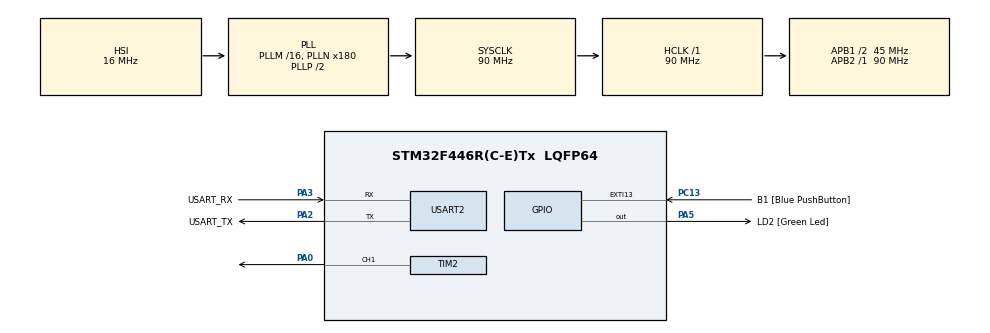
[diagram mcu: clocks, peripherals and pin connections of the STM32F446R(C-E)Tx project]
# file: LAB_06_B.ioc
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Mcu.Family=STM32F4
Mcu.Name=STM32F446R(C-E)Tx
Mcu.Package=LQFP64
NVIC.PriorityGroup=NVIC_PRIORITYGROUP_0
PA0-WKUP.Signal=S_TIM2_CH1_ETR
PA13.GPIO_Label=TMS
PA13.Mode=Serial_Wire
PA13.Signal=SYS_JTMS-SWDIO
PA14.GPIO_Label=TCK
PA14.Mode=Serial_Wire
PA14.Signal=SYS_JTCK-SWCLK
PA2.GPIO_Label=USART_TX
PA2.Mode=Asynchronous
PA2.Signal=USART2_TX
PA3.GPIO_Label=USART_RX
PA3.Mode=Asynchronous
PA3.Signal=USART2_RX
PA5.GPIO_Label=LD2 [Green Led]
PA5.Signal=GPIO_Output
PB3.GPIO_Label=SWO
PB3.Signal=SYS_JTDO-SWO
PC13.GPIO_Label=B1 [Blue PushButton]
PC13.GPIO_ModeDefaultEXTI=GPIO_MODE_IT_FALLING
PC13.Signal=GPXTI13
PC14-OSC32_IN.Mode=LSE-External-Oscillator
PC14-OSC32_IN.Signal=RCC_OSC32_IN
PC15-OSC32_OUT.Mode=LSE-External-Oscillator
PC15-OSC32_OUT.Signal=RCC_OSC32_OUT
PH0-OSC_IN.Mode=HSE-External-Oscillator
PH0-OSC_IN.Signal=RCC_OSC_IN
PH1-OSC_OUT.Mode=HSE-External-Oscillator
PH1-OSC_OUT.Signal=RCC_OSC_OUT
ProjectManager.HeapSize=0x200
ProjectManager.StackSize=0x400
ProjectManager.TargetToolchain=STM32CubeIDE
RCC.48MHZClocksFreq_Value=84000000
RCC.AHBFreq_Value=90000000
RCC.APB1CLKDivider=RCC_HCLK_DIV2
RCC.APB1Freq_Value=45000000
RCC.APB1TimFreq_Value=90000000
RCC.APB2Freq_Value=90000000
RCC.APB2TimFreq_Value=90000000
RCC.CortexFreq_Value=90000000
RCC.FLatency-AdvancedSettings=FLASH_LATENCY_2
RCC.HCLKFreq_Value=90000000
RCC.HSE_VALUE=8000000
RCC.HSI_VALUE=16000000
RCC.PLLN=180
RCC.SYSCLKFreq_VALUE=90000000
RCC.SYSCLKSource=RCC_SYSCLKSOURCE_PLLCLK
RCC.USBFreq_Value=90000000
RCC.VCOOutputFreq_Value=180000000
SH.S_TIM2_CH1_ETR.0=TIM2_CH1,PWM Generation1 CH1
TIM2.AutoReloadPreload=TIM_AUTORELOAD_PRELOAD_ENABLE
TIM2.Channel-PWM\ Generation1\ CH1=TIM_CHANNEL_1
TIM2.Period=59999
TIM2.Prescaler=29
USART2.VirtualMode=VM_ASYNC
VP_TIM2_VS_ClockSourceINT.Mode=Internal
VP_TIM6_VS_ClockSourceINT.Mode=Enable_Timer
board=NUCLEO-F446RE

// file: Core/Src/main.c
/* USER CODE BEGIN Header */
/**
  ******************************************************************************
  * @file           : main.c
  * @brief          : Main program body
  ******************************************************************************
  * @attention
  *
  * Copyright (c) 2026 STMicroelectronics.
  * All rights reserved.
  *
  * This software is licensed under terms that can be found in the LICENSE file
  * in the root directory of this software component.
  * If no LICENSE file comes with this software, it is provided AS-IS.
  *
  ******************************************************************************
  */
/* USER CODE END Header */
#include "main.h"

/* USER CODE BEGIN Includes */
#include <stdio.h>
/* USER CODE END Includes */

TIM_HandleTypeDef htim2;
TIM_HandleTypeDef htim6;

UART_HandleTypeDef huart2;

/* USER CODE BEGIN PV */
char msg[64];
/* USER CODE END PV */

void SystemClock_Config(void);
static void MX_GPIO_Init(void);
static void MX_TIM2_Init(void);
static void MX_TIM6_Init(void);
static void MX_USART2_UART_Init(void);

/* USER CODE BEGIN 0 */
// Microsecond delay using TIM6

void delay_us(uint32_t us)
{
    uint32_t overflow = us / 65536;
    uint32_t remainder = us % 65536;
    __HAL_TIM_SET_COUNTER(&htim6, 0);
    __HAL_TIM_CLEAR_FLAG(&htim6, TIM_FLAG_UPDATE);
    while (overflow--)
    {
        while (!__HAL_TIM_GET_FLAG(&htim6, TIM_FLAG_UPDATE));
        __HAL_TIM_CLEAR_FLAG(&htim6, TIM_FLAG_UPDATE);
    }
    __HAL_TIM_SET_COUNTER(&htim6, 0);
    while (__HAL_TIM_GET_COUNTER(&htim6) < remainder);
}

void delay_ms(uint32_t ms)
{
    for (uint32_t i = 0; i < ms; i++) delay_us(1000);
}

int __io_putchar(int ch)
{
    HAL_UART_Transmit(&huart2, (uint8_t*)&ch, 1, HAL_MAX_DELAY);
    return ch;
}

/* USER CODE END 0 */

int main(void)
{

  /* MCU Configuration--------------------------------------------------------*/

  /* Reset of all peripherals, Initializes the Flash interface and the Systick. */
  HAL_Init();

  /* Configure the system clock */
  SystemClock_Config();

  /* Initialize all configured peripherals */
  MX_GPIO_Init();
  MX_TIM2_Init();
  MX_TIM6_Init();
  MX_USART2_UART_Init();
  /* USER CODE BEGIN 2 */
  // Start TIM6 (free-running counter for delay)
  HAL_TIM_Base_Start(&htim6);

  // Start TIM2 PWM on Channel 1
  HAL_TIM_PWM_Start(&htim2, TIM_CHANNEL_1);

  printf("Target Angle  Pulse Width(us)  CCR VALUE\r\n");

  for (int i = 0; i <= 180; i += 10)
  {
      __HAL_TIM_SET_COMPARE(&htim2, TIM_CHANNEL_1, 0);  // reset

      double time = 500.0 + ((i * 2000.0) / 180.0);    // pulse in µs
      double CCR  = time * 3.0;                          // scale to ARR

      __HAL_TIM_SET_COMPARE(&htim2, TIM_CHANNEL_1, (uint32_t)CCR);

      printf("%d\t\t%.2f\t\t%.2f\r\n", i, time, CCR);

      delay_ms(500);
  }

  /* USER CODE END 2 */

  /* Infinite loop */
  while (1)
  {

  }
}

void SystemClock_Config(void)
{
  RCC_OscInitTypeDef RCC_OscInitStruct = {0};
  RCC_ClkInitTypeDef RCC_ClkInitStruct = {0};

  /** Configure the main internal regulator output voltage
  */
  __HAL_RCC_PWR_CLK_ENABLE();
  __HAL_PWR_VOLTAGESCALING_CONFIG(PWR_REGULATOR_VOLTAGE_SCALE3);

  /** Initializes the RCC Oscillators according to the specified parameters
  * in the RCC_OscInitTypeDef structure.
  */
  RCC_OscInitStruct.OscillatorType = RCC_OSCILLATORTYPE_HSI;
  RCC_OscInitStruct.HSIState = RCC_HSI_ON;
  RCC_OscInitStruct.HSICalibrationValue = RCC_HSICALIBRATION_DEFAULT;
  RCC_OscInitStruct.PLL.PLLState = RCC_PLL_ON;
  RCC_OscInitStruct.PLL.PLLSource = RCC_PLLSOURCE_HSI;
  RCC_OscInitStruct.PLL.PLLM = 16;
  RCC_OscInitStruct.PLL.PLLN = 180;
  RCC_OscInitStruct.PLL.PLLP = RCC_PLLP_DIV2;
  RCC_OscInitStruct.PLL.PLLQ = 2;
  RCC_OscInitStruct.PLL.PLLR = 2;
  if (HAL_RCC_OscConfig(&RCC_OscInitStruct) != HAL_OK)
  {
    Error_Handler();
  }

  /** Initializes the CPU, AHB and APB buses clocks
  */
  RCC_ClkInitStruct.ClockType = RCC_CLOCKTYPE_HCLK|RCC_CLOCKTYPE_SYSCLK
                              |RCC_CLOCKTYPE_PCLK1|RCC_CLOCKTYPE_PCLK2;
  RCC_ClkInitStruct.SYSCLKSource = RCC_SYSCLKSOURCE_PLLCLK;
  RCC_ClkInitStruct.AHBCLKDivider = RCC_SYSCLK_DIV1;
  RCC_ClkInitStruct.APB1CLKDivider = RCC_HCLK_DIV2;
  RCC_ClkInitStruct.APB2CLKDivider = RCC_HCLK_DIV1;

  if (HAL_RCC_ClockConfig(&RCC_ClkInitStruct, FLASH_LATENCY_2) != HAL_OK)
  {
    Error_Handler();
  }
}

static void MX_TIM2_Init(void)
{

  TIM_ClockConfigTypeDef sClockSourceConfig = {0};
  TIM_MasterConfigTypeDef sMasterConfig = {0};
  TIM_OC_InitTypeDef sConfigOC = {0};

  htim2.Instance = TIM2;
  htim2.Init.Prescaler = 29;
  htim2.Init.CounterMode = TIM_COUNTERMODE_UP;
  htim2.Init.Period = 59999;
  htim2.Init.ClockDivision = TIM_CLOCKDIVISION_DIV1;
  htim2.Init.AutoReloadPreload = TIM_AUTORELOAD_PRELOAD_ENABLE;
  if (HAL_TIM_Base_Init(&htim2) != HAL_OK)
  {
    Error_Handler();
  }
  sClockSourceConfig.ClockSource = TIM_CLOCKSOURCE_INTERNAL;
  if (HAL_TIM_ConfigClockSource(&htim2, &sClockSourceConfig) != HAL_OK)
  {
    Error_Handler();
  }
  if (HAL_TIM_PWM_Init(&htim2) != HAL_OK)
  {
    Error_Handler();
  }
  sMasterConfig.MasterOutputTrigger = TIM_TRGO_RESET;
  sMasterConfig.MasterSlaveMode = TIM_MASTERSLAVEMODE_DISABLE;
  if (HAL_TIMEx_MasterConfigSynchronization(&htim2, &sMasterConfig) != HAL_OK)
  {
    Error_Handler();
  }
  sConfigOC.OCMode = TIM_OCMODE_PWM1;
  sConfigOC.Pulse = 0;
  sConfigOC.OCPolarity = TIM_OCPOLARITY_HIGH;
  sConfigOC.OCFastMode = TIM_OCFAST_DISABLE;
  if (HAL_TIM_PWM_ConfigChannel(&htim2, &sConfigOC, TIM_CHANNEL_1) != HAL_OK)
  {
    Error_Handler();
  }
  HAL_TIM_MspPostInit(&htim2);

}

static void MX_TIM6_Init(void)
{

  TIM_MasterConfigTypeDef sMasterConfig = {0};

  htim6.Instance = TIM6;
  htim6.Init.Prescaler = 0;
  htim6.Init.CounterMode = TIM_COUNTERMODE_UP;
  htim6.Init.Period = 65535;
  htim6.Init.AutoReloadPreload = TIM_AUTORELOAD_PRELOAD_DISABLE;
  if (HAL_TIM_Base_Init(&htim6) != HAL_OK)
  {
    Error_Handler();
  }
  sMasterConfig.MasterOutputTrigger = TIM_TRGO_RESET;
  sMasterConfig.MasterSlaveMode = TIM_MASTERSLAVEMODE_DISABLE;
  if (HAL_TIMEx_MasterConfigSynchronization(&htim6, &sMasterConfig) != HAL_OK)
  {
    Error_Handler();
  }

}

static void MX_USART2_UART_Init(void)
{

  huart2.Instance = USART2;
  huart2.Init.BaudRate = 115200;
  huart2.Init.WordLength = UART_WORDLENGTH_8B;
  huart2.Init.StopBits = UART_STOPBITS_1;
  huart2.Init.Parity = UART_PARITY_NONE;
  huart2.Init.Mode = UART_MODE_TX_RX;
  huart2.Init.HwFlowCtl = UART_HWCONTROL_NONE;
  huart2.Init.OverSampling = UART_OVERSAMPLING_16;
  if (HAL_UART_Init(&huart2) != HAL_OK)
  {
    Error_Handler();
  }

}

static void MX_GPIO_Init(void)
{
  GPIO_InitTypeDef GPIO_InitStruct = {0};

  /* GPIO Ports Clock Enable */
  __HAL_RCC_GPIOC_CLK_ENABLE();
  __HAL_RCC_GPIOH_CLK_ENABLE();
  __HAL_RCC_GPIOA_CLK_ENABLE();
  __HAL_RCC_GPIOB_CLK_ENABLE();

  /*Configure GPIO pin Output Level */
  HAL_GPIO_WritePin(LD2_GPIO_Port, LD2_Pin, GPIO_PIN_RESET);

  /*Configure GPIO pin : B1_Pin */
  GPIO_InitStruct.Pin = B1_Pin;
  GPIO_InitStruct.Mode = GPIO_MODE_IT_FALLING;
  GPIO_InitStruct.Pull = GPIO_NOPULL;
  HAL_GPIO_Init(B1_GPIO_Port, &GPIO_InitStruct);

  /*Configure GPIO pin : LD2_Pin */
  GPIO_InitStruct.Pin = LD2_Pin;
  GPIO_InitStruct.Mode = GPIO_MODE_OUTPUT_PP;
  GPIO_InitStruct.Pull = GPIO_NOPULL;
  GPIO_InitStruct.Speed = GPIO_SPEED_FREQ_LOW;
  HAL_GPIO_Init(LD2_GPIO_Port, &GPIO_InitStruct);

}

void Error_Handler(void)
{
  __disable_irq();
  while (1)
  {
  }
}
